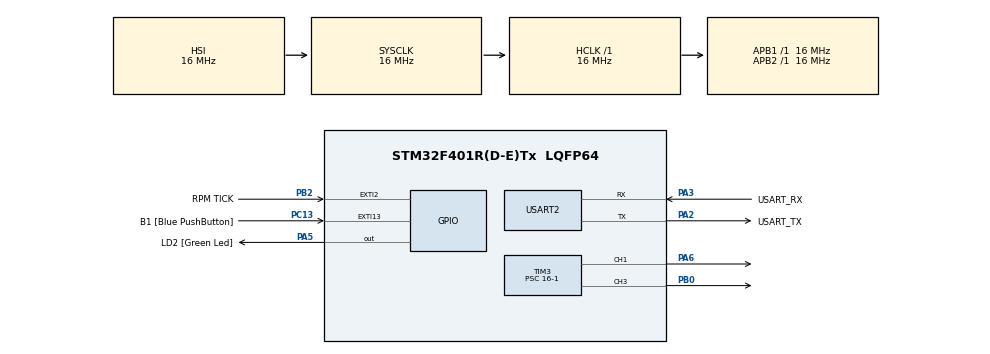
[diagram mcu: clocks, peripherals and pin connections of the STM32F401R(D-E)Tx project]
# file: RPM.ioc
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Mcu.Family=STM32F4
Mcu.Name=STM32F401R(D-E)Tx
Mcu.Package=LQFP64
NVIC.EXTI15_10_IRQn=true\:0\:0\:false\:false\:true\:true\:true\:true
NVIC.EXTI2_IRQn=true\:0\:0\:false\:false\:true\:true\:true\:true
NVIC.PriorityGroup=NVIC_PRIORITYGROUP_0
PA13.GPIO_Label=TMS
PA13.Mode=Serial_Wire
PA13.Signal=SYS_JTMS-SWDIO
PA14.GPIO_Label=TCK
PA14.Mode=Serial_Wire
PA14.Signal=SYS_JTCK-SWCLK
PA2.GPIO_Label=USART_TX
PA2.GPIO_Mode=GPIO_MODE_AF_PP
PA2.GPIO_PuPd=GPIO_NOPULL
PA2.GPIO_Speed=GPIO_SPEED_FREQ_LOW
PA2.Mode=Asynchronous
PA2.Signal=USART2_TX
PA3.GPIO_Label=USART_RX
PA3.GPIO_Mode=GPIO_MODE_AF_PP
PA3.GPIO_PuPd=GPIO_NOPULL
PA3.GPIO_Speed=GPIO_SPEED_FREQ_LOW
PA3.Mode=Asynchronous
PA3.Signal=USART2_RX
PA5.GPIO_Label=LD2 [Green Led]
PA5.GPIO_Mode=GPIO_MODE_OUTPUT_PP
PA5.GPIO_PuPd=GPIO_NOPULL
PA5.GPIO_Speed=GPIO_SPEED_FREQ_LOW
PA5.Signal=GPIO_Output
PA6.Signal=S_TIM3_CH1
PB0.Signal=S_TIM3_CH3
PB2.GPIO_Label=RPM TICK
PB2.GPIO_ModeDefaultEXTI=GPIO_MODE_IT_RISING
PB2.Signal=GPXTI2
PB3.GPIO_Label=SWO
PB3.Signal=SYS_JTDO-SWO
PC13-ANTI_TAMP.GPIO_Label=B1 [Blue PushButton]
PC13-ANTI_TAMP.GPIO_ModeDefaultEXTI=GPIO_MODE_IT_FALLING
PC13-ANTI_TAMP.GPIO_PuPd=GPIO_NOPULL
PC13-ANTI_TAMP.Signal=GPXTI13
PC14-OSC32_IN.Mode=LSE-External-Oscillator
PC14-OSC32_IN.Signal=RCC_OSC32_IN
PC15-OSC32_OUT.Mode=LSE-External-Oscillator
PC15-OSC32_OUT.Signal=RCC_OSC32_OUT
PH0\ -\ OSC_IN.Mode=HSE-External-Clock-Source
PH0\ -\ OSC_IN.Signal=RCC_OSC_IN
PH1\ -\ OSC_OUT.Mode=HSE-External-Clock-Source
PH1\ -\ OSC_OUT.Signal=RCC_OSC_OUT
ProjectManager.HeapSize=0x200
ProjectManager.StackSize=0x400
ProjectManager.TargetToolchain=STM32CubeIDE
RCC.48MHZClocksFreq_Value=48000000
RCC.AHBFreq_Value=16000000
RCC.APB1Freq_Value=16000000
RCC.APB1TimFreq_Value=16000000
RCC.APB2Freq_Value=16000000
RCC.APB2TimFreq_Value=16000000
RCC.CortexFreq_Value=16000000
RCC.HCLKFreq_Value=16000000
RCC.HSE_VALUE=8000000
RCC.HSI_VALUE=16000000
RCC.PLLN=336
RCC.PLLP=RCC_PLLP_DIV4
RCC.PLLQ=7
RCC.SYSCLKFreq_VALUE=16000000
RCC.VCOOutputFreq_Value=336000000
SH.S_TIM3_CH1.0=TIM3_CH1,PWM Generation1 CH1
SH.S_TIM3_CH3.0=TIM3_CH3,PWM Generation3 CH3
TIM3.AutoReloadPreload=TIM_AUTORELOAD_PRELOAD_ENABLE
TIM3.Channel-PWM\ Generation1\ CH1=TIM_CHANNEL_1
TIM3.Channel-PWM\ Generation3\ CH3=TIM_CHANNEL_3
TIM3.Period=2000-1
TIM3.Prescaler=16-1
TIM3.Pulse-PWM\ Generation1\ CH1=1200-1
TIM3.Pulse-PWM\ Generation3\ CH3=0
USART2.VirtualMode=VM_ASYNC
VP_TIM3_VS_ClockSourceINT.Mode=Internal
board=NUCLEO-F401RE

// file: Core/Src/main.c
/* USER CODE BEGIN Header */
/**
  ******************************************************************************
  * @file           : main.c
  * @brief          : Main program body
  ******************************************************************************
  * @attention
  *
  * Copyright (c) 2024 STMicroelectronics.
  * All rights reserved.
  *
  * This software is licensed under terms that can be found in the LICENSE file
  * in the root directory of this software component.
  * If no LICENSE file comes with this software, it is provided AS-IS.
  *
  ******************************************************************************
  */
/* USER CODE END Header */
#include "main.h"

/* USER CODE BEGIN Includes */
#include <stdio.h>
/* USER CODE END Includes */

TIM_HandleTypeDef htim3;

UART_HandleTypeDef huart2;

void SystemClock_Config(void);
static void MX_GPIO_Init(void);
static void MX_USART2_UART_Init(void);
static void MX_TIM3_Init(void);

int main(void)
{

  /* MCU Configuration--------------------------------------------------------*/

  /* Reset of all peripherals, Initializes the Flash interface and the Systick. */
  HAL_Init();

  /* USER CODE BEGIN Init */
  int rpm_tick_count = 0;
  /* USER CODE END Init */

  /* Configure the system clock */
  SystemClock_Config();

  /* Initialize all configured peripherals */
  MX_GPIO_Init();
  MX_USART2_UART_Init();
  MX_TIM3_Init();
  /* USER CODE BEGIN 2 */
  HAL_TIM_Base_Init(&htim3);
  HAL_TIM_PWM_Start(&htim3, TIM_CHANNEL_1);
  HAL_TIM_PWM_Start(&htim3, TIM_CHANNEL_3);
  TIM3->PSC = 15;
  TIM3->ARR = 60000;
  TIM3->CCR1 = 0;
  TIM3->CCR3 = 0;
  int TIM3_Ch1_DCVAL = 0;
  int TIM3_Ch3_DCVAL = 0;
  /* USER CODE END 2 */

  /* Infinite loop */
  /* USER CODE BEGIN WHILE */
  while (1)
  {
	while(TIM3_Ch1_DCVAL < 60000){
		TIM3_Ch1_DCVAL += (50);
		TIM3->CCR1 = TIM3_Ch1_DCVAL;
		HAL_Delay(1);
	}
	while(TIM3_Ch1_DCVAL > 0){
		TIM3_Ch1_DCVAL -= (50);
		TIM3->CCR1 = TIM3_Ch1_DCVAL;
		HAL_Delay(1);
	}
	while(TIM3_Ch3_DCVAL < 60000){
		TIM3_Ch3_DCVAL += (50);
		TIM3->CCR3 = TIM3_Ch3_DCVAL;
		HAL_Delay(1);
	}
	while(TIM3_Ch3_DCVAL > 0){
			TIM3_Ch3_DCVAL-= (50);
			TIM3->CCR3 = TIM3_Ch3_DCVAL;
			HAL_Delay(1);
	}
	/*if(GPIO_Pin == RPM_TICK_Pin)
	{
		rpm_tick_count += 1;
	}
	printf(rpm_tick_count);*/
    /* USER CODE END WHILE */

  }
}

void SystemClock_Config(void)
{
  RCC_OscInitTypeDef RCC_OscInitStruct = {0};
  RCC_ClkInitTypeDef RCC_ClkInitStruct = {0};

  /** Configure the main internal regulator output voltage
  */
  __HAL_RCC_PWR_CLK_ENABLE();
  __HAL_PWR_VOLTAGESCALING_CONFIG(PWR_REGULATOR_VOLTAGE_SCALE2);

  /** Initializes the RCC Oscillators according to the specified parameters
  * in the RCC_OscInitTypeDef structure.
  */
  RCC_OscInitStruct.OscillatorType = RCC_OSCILLATORTYPE_HSI;
  RCC_OscInitStruct.HSIState = RCC_HSI_ON;
  RCC_OscInitStruct.HSICalibrationValue = RCC_HSICALIBRATION_DEFAULT;
  RCC_OscInitStruct.PLL.PLLState = RCC_PLL_NONE;
  if (HAL_RCC_OscConfig(&RCC_OscInitStruct) != HAL_OK)
  {
    Error_Handler();
  }

  /** Initializes the CPU, AHB and APB buses clocks
  */
  RCC_ClkInitStruct.ClockType = RCC_CLOCKTYPE_HCLK|RCC_CLOCKTYPE_SYSCLK
                              |RCC_CLOCKTYPE_PCLK1|RCC_CLOCKTYPE_PCLK2;
  RCC_ClkInitStruct.SYSCLKSource = RCC_SYSCLKSOURCE_HSI;
  RCC_ClkInitStruct.AHBCLKDivider = RCC_SYSCLK_DIV1;
  RCC_ClkInitStruct.APB1CLKDivider = RCC_HCLK_DIV1;
  RCC_ClkInitStruct.APB2CLKDivider = RCC_HCLK_DIV1;

  if (HAL_RCC_ClockConfig(&RCC_ClkInitStruct, FLASH_LATENCY_0) != HAL_OK)
  {
    Error_Handler();
  }
}

static void MX_TIM3_Init(void)
{

  TIM_ClockConfigTypeDef sClockSourceConfig = {0};
  TIM_MasterConfigTypeDef sMasterConfig = {0};
  TIM_OC_InitTypeDef sConfigOC = {0};

  htim3.Instance = TIM3;
  htim3.Init.Prescaler = 16-1;
  htim3.Init.CounterMode = TIM_COUNTERMODE_UP;
  htim3.Init.Period = 2000-1;
  htim3.Init.ClockDivision = TIM_CLOCKDIVISION_DIV1;
  htim3.Init.AutoReloadPreload = TIM_AUTORELOAD_PRELOAD_ENABLE;
  if (HAL_TIM_Base_Init(&htim3) != HAL_OK)
  {
    Error_Handler();
  }
  sClockSourceConfig.ClockSource = TIM_CLOCKSOURCE_INTERNAL;
  if (HAL_TIM_ConfigClockSource(&htim3, &sClockSourceConfig) != HAL_OK)
  {
    Error_Handler();
  }
  if (HAL_TIM_PWM_Init(&htim3) != HAL_OK)
  {
    Error_Handler();
  }
  sMasterConfig.MasterOutputTrigger = TIM_TRGO_RESET;
  sMasterConfig.MasterSlaveMode = TIM_MASTERSLAVEMODE_DISABLE;
  if (HAL_TIMEx_MasterConfigSynchronization(&htim3, &sMasterConfig) != HAL_OK)
  {
    Error_Handler();
  }
  sConfigOC.OCMode = TIM_OCMODE_PWM1;
  sConfigOC.Pulse = 1200-1;
  sConfigOC.OCPolarity = TIM_OCPOLARITY_HIGH;
  sConfigOC.OCFastMode = TIM_OCFAST_DISABLE;
  if (HAL_TIM_PWM_ConfigChannel(&htim3, &sConfigOC, TIM_CHANNEL_1) != HAL_OK)
  {
    Error_Handler();
  }
  sConfigOC.Pulse = 0;
  if (HAL_TIM_PWM_ConfigChannel(&htim3, &sConfigOC, TIM_CHANNEL_3) != HAL_OK)
  {
    Error_Handler();
  }
  HAL_TIM_MspPostInit(&htim3);

}

static void MX_USART2_UART_Init(void)
{

  huart2.Instance = USART2;
  huart2.Init.BaudRate = 115200;
  huart2.Init.WordLength = UART_WORDLENGTH_8B;
  huart2.Init.StopBits = UART_STOPBITS_1;
  huart2.Init.Parity = UART_PARITY_NONE;
  huart2.Init.Mode = UART_MODE_TX_RX;
  huart2.Init.HwFlowCtl = UART_HWCONTROL_NONE;
  huart2.Init.OverSampling = UART_OVERSAMPLING_16;
  if (HAL_UART_Init(&huart2) != HAL_OK)
  {
    Error_Handler();
  }

}

static void MX_GPIO_Init(void)
{
  GPIO_InitTypeDef GPIO_InitStruct = {0};

  /* GPIO Ports Clock Enable */
  __HAL_RCC_GPIOC_CLK_ENABLE();
  __HAL_RCC_GPIOH_CLK_ENABLE();
  __HAL_RCC_GPIOA_CLK_ENABLE();
  __HAL_RCC_GPIOB_CLK_ENABLE();

  /*Configure GPIO pin Output Level */
  HAL_GPIO_WritePin(LD2_GPIO_Port, LD2_Pin, GPIO_PIN_RESET);

  /*Configure GPIO pin : B1_Pin */
  GPIO_InitStruct.Pin = B1_Pin;
  GPIO_InitStruct.Mode = GPIO_MODE_IT_FALLING;
  GPIO_InitStruct.Pull = GPIO_NOPULL;
  HAL_GPIO_Init(B1_GPIO_Port, &GPIO_InitStruct);

  /*Configure GPIO pin : LD2_Pin */
  GPIO_InitStruct.Pin = LD2_Pin;
  GPIO_InitStruct.Mode = GPIO_MODE_OUTPUT_PP;
  GPIO_InitStruct.Pull = GPIO_NOPULL;
  GPIO_InitStruct.Speed = GPIO_SPEED_FREQ_LOW;
  HAL_GPIO_Init(LD2_GPIO_Port, &GPIO_InitStruct);

  /*Configure GPIO pin : RPM_TICK_Pin */
  GPIO_InitStruct.Pin = RPM_TICK_Pin;
  GPIO_InitStruct.Mode = GPIO_MODE_IT_RISING;
  GPIO_InitStruct.Pull = GPIO_NOPULL;
  HAL_GPIO_Init(RPM_TICK_GPIO_Port, &GPIO_InitStruct);

  /* EXTI interrupt init*/
  HAL_NVIC_SetPriority(EXTI2_IRQn, 0, 0);
  HAL_NVIC_EnableIRQ(EXTI2_IRQn);

  HAL_NVIC_SetPriority(EXTI15_10_IRQn, 0, 0);
  HAL_NVIC_EnableIRQ(EXTI15_10_IRQn);

}

void Error_Handler(void)
{
  __disable_irq();
  while (1)
  {
  }
}
